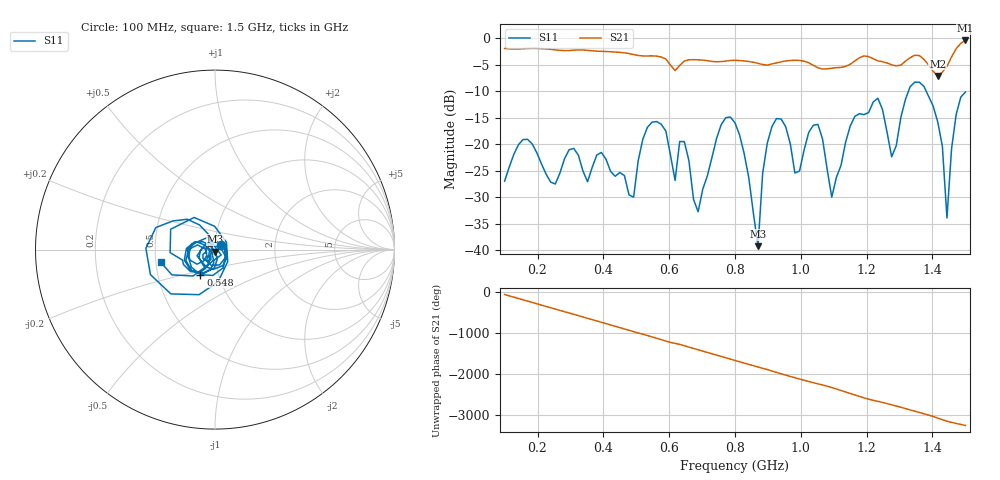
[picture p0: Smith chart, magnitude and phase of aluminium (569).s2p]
! NanoVNA-App
! Date: 2025-09-25 14:59:42
! Start: 100MHz Stop: 1,5GHz Points: 101
! S-Parameter data: F S11 S21 S12 S22
# Hz S RI R 50
!  Frequency  S11_Real  S11_Imag  S21_Real  S21_Imag  S12_Real  S12_Imag  S22_Real  S22_Imag
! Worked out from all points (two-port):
!   101 points, 100 MHz to 1.5 GHz, reference 50 ohm
!   highest |S21| = -0.40 dB at 1.5 GHz (marker M1); lowest = -7.1 dB at 1.416 GHz (marker M2)
!   |S21| within 3 dB of the highest: start of sweep to 565.7 MHz; 1.459 GHz to end of sweep (the widest 2 of 4)
!   lowest |S11| = -39.2 dB at 870 MHz (marker M3), VSWR 1.02, Z = 50.2 - j1.07 ohm
!   |S11| at or under -10 dB: start of sweep to 1.327 GHz; 1.381 GHz to end of sweep
!   S12 and S22 are empty: the file has one direction only
!   S11 on the Smith chart (normalised r, x): 100 MHz: 1.07, +0.06; 548 MHz: 0.82, -0.23; 1.5 GHz: 0.53, -0.08
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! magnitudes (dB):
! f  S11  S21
! 100 MHz  -27.0  -1.9
! 156 MHz  -19.1  -2.0
! 338 MHz  -25.0  -2.2
! 492 MHz  -30.0  -3.1
! 548 MHz  -15.8  -3.3
! 576 MHz  -16.2  -3.5
! 618 MHz  -26.8  -6.1
! 646 MHz  -19.5  -4.3
! 688 MHz  -32.7  -4.1
! 800 MHz  -16.0  -4.1
! 870 MHz  -39.2  -4.7
! 912 MHz  -16.7  -4.8
! 982 MHz  -25.4  -4.1
! 1.038 GHz  -16.4  -5.1
! 1.094 GHz  -30.0  -5.6
! 1.234 GHz  -11.3  -4.3
! 1.276 GHz  -22.4  -5.0
! 1.346 GHz  -8.3  -3.2
! 1.416 GHz  -15.8  -7.1
! 1.444 GHz  -33.9  -5.3
! 1.472 GHz  -14.4  -2.0
! 1.5 GHz  -10.2  -0.4
